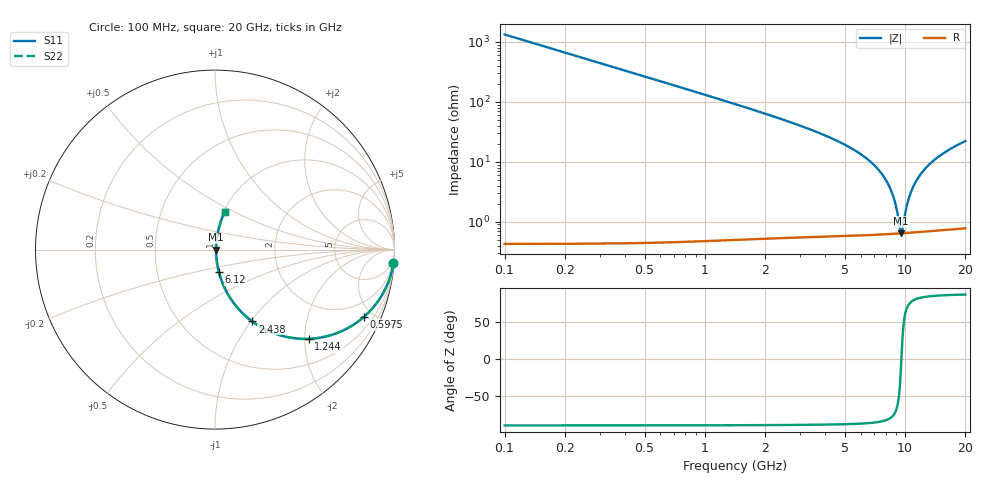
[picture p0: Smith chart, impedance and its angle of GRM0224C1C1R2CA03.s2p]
!Murata Part Number: GRM0224C1C1R2CA03
!These Parameters are Measured in Series Mode Connection
!Data Generated on Mar 30, 2021
!  o--ll--o
!Port1  Port2
!  o------o
!Operation Temp=25[degC], DC Bias Voltage=0[V]
!Freq. Start=100[MHz] Stop=20[GHz] 401[Steps]
# Hz S RI R 50
!Freq.(Hz) S11(Real) S11(Imag) S21(Real) S21(Imag) S12(Real) S12(Imag) S22(Real) S22(Imag)
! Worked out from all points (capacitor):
!   401 points, 100 MHz to 20 GHz, reference 50 ohm
!   read as one part in series: C = 1.2 pF near 199.5 MHz
!   lowest |Z| = 645 mohm at 9.553 GHz (marker M1)
!   series resonance near 9.578 GHz, so ESL is about 230 pH
!   S11 on the Smith chart (normalised r, x): 100 MHz: 1, -27; 597.5 MHz: 1.01, -4.42; 1.244 GHz: 1.01, -2.09; 2.438 GHz: 1.01, -1.02; 6.12 GHz: 1.01, -0.26; 20 GHz: 1.02, +0.44
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1e8  0.9943 -0.075  0.00568 0.075  0.00568 0.075  0.9943 -0.075
3.4875e8  0.9349 -0.2461  0.0651 0.2461  0.0651 0.2461  0.9349 -0.2461
5.975e8  0.8296 -0.375  0.1704 0.375  0.1704 0.375  0.8296 -0.375
8.96e8  0.6821 -0.4641  0.3179 0.4641  0.3179 0.4641  0.6821 -0.4641
1.24425e9  0.523 -0.4971  0.477 0.4971  0.477 0.4971  0.523 -0.4971
1.7915e9  0.3386 -0.4696  0.6614 0.4696  0.6614 0.4696  0.3386 -0.4696
2.43825e9  0.2077 -0.4004  0.7923 0.4004  0.7923 0.4004  0.2077 -0.4004
3.43325e9  0.1055 -0.299  0.8945 0.299  0.8945 0.299  0.1055 -0.299
6.11975e9  0.0217 -0.1244  0.9783 0.1244  0.9783 0.1244  0.0217 -0.1244
6.7665e9  0.0153 -0.0958  0.9847 0.0958  0.9847 0.0958  0.0153 -0.0958
7.7615e9  0.00946 -0.0576  0.9905 0.0576  0.9905 0.0576  0.00946 -0.0576
8.50775e9  0.00727 -0.0323  0.9927 0.0323  0.9927 0.0323  0.00727 -0.0323
8.9555e9  0.00662 -0.0183  0.9934 0.0183  0.9934 0.0183  0.00662 -0.0183
9.5525e9  0.00637 -0.000721  0.9936 0.000721  0.9936 0.000721  0.00637 -0.000721
9.70175e9  0.0064 0.0035  0.9936 -0.0035  0.9936 -0.0035  0.0064 0.0035
1.005e10  0.00661 0.0131  0.9934 -0.0131  0.9934 -0.0131  0.00661 0.0131
1.05475e10  0.00721 0.0263  0.9928 -0.0263  0.9928 -0.0263  0.00721 0.0263
1.119425e10  0.00843 0.0425  0.9916 -0.0425  0.9916 -0.0425  0.00843 0.0425
1.21395e10  0.011 0.0648  0.989 -0.0648  0.989 -0.0648  0.011 0.0648
1.338325e10  0.0155 0.0918  0.9845 -0.0918  0.9845 -0.0918  0.0155 0.0918
1.67165e10  0.0321 0.1549  0.9679 -0.1549  0.9679 -0.1549  0.0321 0.1549
2e10  0.0533 0.2077  0.9467 -0.2077  0.9467 -0.2077  0.0533 0.2077
